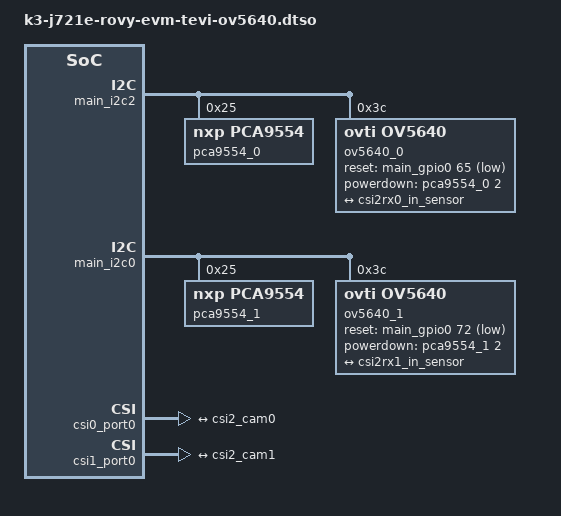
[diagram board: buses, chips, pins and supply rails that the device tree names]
// SPDX-License-Identifier: GPL-2.0
/*
 * LI OV5640 MIPI Camera module.
 *
 * Copyright (C) 2021 Texas Instruments Incorporated - http://www.ti.com/
 */

/dts-v1/;
/plugin/;

#include <dt-bindings/gpio/gpio.h>
#include "k3-pinctrl.h"

/ {
	fragment@101 {
		target-path = "/";

		__overlay__ {
			clk_ov5640_fixed: ov5640-xclk {
				compatible = "fixed-clock";
				#clock-cells = <0>;
				clock-frequency = <24000000>;
			};
		};
	};
};

&main_pmx0 {

	main_rovy_cam0_pins_default: main-rovy-cam0-pins-default {
		pinctrl-single,pins = <
			J721E_IOPAD(0x108, PIN_OUTPUT, 7) /* (AD27) PRG0_PRU1_GPO2.GPIO0_65 */
			J721E_IOPAD(0x10c, PIN_OUTPUT, 7) /* (AC25) PRG0_PRU1_GPO3.GPIO0_66 */
		>;
	};

	main_rovy_cam1_pins_default: main-rovy-cam1-pins-default {
		pinctrl-single,pins = <
			J721E_IOPAD(0x124, PIN_OUTPUT, 7) /* (Y24) PRG0_PRU1_GPO9.GPIO0_72 */
			J721E_IOPAD(0x128, PIN_OUTPUT, 7) /* (AA25) PRG0_PRU1_GPO10.GPIO0_73 */
		>;
	};
};

&main_i2c2 {
	#address-cells = <1>;
	#size-cells = <0>;
	status = "okay";

	pca9554_0: pca9554_0@25 {
		compatible = "nxp,pca9554";
		reg = <0x25>;
		gpio-controller;
		#gpio-cells = <2>;
		status = "okay";
	};

	ov5640_0: camera@3c {
		compatible = "ovti,ov5640";
		reg = <0x3c>;

		pinctrl-names = "default";
		pinctrl-0 = <&main_rovy_cam0_pins_default>;

		reset-gpios = <&main_gpio0 65 GPIO_ACTIVE_LOW>;	//CSI0_RST_N_GPIO0_65
		powerdown-gpios = <&pca9554_0 2 GPIO_ACTIVE_HIGH>;

		clocks = <&clk_ov5640_fixed>;
		clock-names = "xclk";

		port {
			csi2_cam0: endpoint {
				remote-endpoint = <&csi2rx0_in_sensor>;
				clock-lanes = <0>;
				data-lanes = <1 2>;
			};
		};
	};
};

&main_i2c0 {
	#address-cells = <1>;
	#size-cells = <0>;
	status = "okay";

	pca9554_1: pca9554_0@25 {
		compatible = "nxp,pca9554";
		reg = <0x25>;
		gpio-controller;
		#gpio-cells = <2>;
		status = "okay";
	};

	ov5640_1: camera@3c {
		compatible = "ovti,ov5640";
		reg = <0x3c>;

		pinctrl-names = "default";
		pinctrl-0 = <&main_rovy_cam1_pins_default>;

		reset-gpios = <&main_gpio0 72 GPIO_ACTIVE_LOW>;	//GPIO0_72
		powerdown-gpios = <&pca9554_1 2 GPIO_ACTIVE_HIGH>;

		clocks = <&clk_ov5640_fixed>;
		clock-names = "xclk";

		port {
			csi2_cam1: endpoint {
				remote-endpoint = <&csi2rx1_in_sensor>;
				clock-lanes = <0>;
				data-lanes = <1 2>;
			};
		};
	};
};

&csi0_port0 {
	status = "okay";
	csi2rx0_in_sensor: endpoint {
		remote-endpoint = <&csi2_cam0>;
		bus-type = <4>; /* CSI2 DPHY. */
		clock-lanes = <0>;
		data-lanes = <1 2>;
	};
};

&csi1_port0 {
	status = "okay";
	csi2rx1_in_sensor: endpoint {
		remote-endpoint = <&csi2_cam1>;
		bus-type = <4>; /* CSI2 DPHY. */
		clock-lanes = <0>;
		data-lanes = <1 2>;
	};
};
